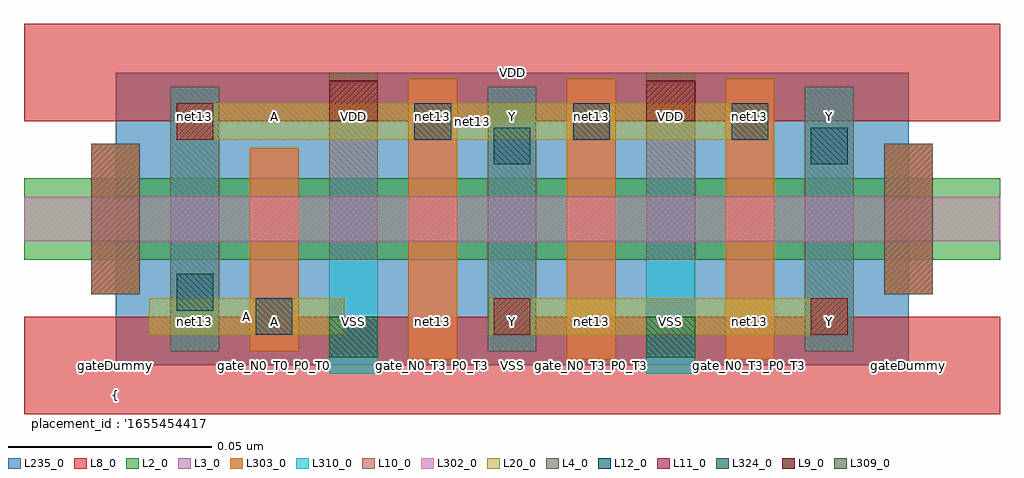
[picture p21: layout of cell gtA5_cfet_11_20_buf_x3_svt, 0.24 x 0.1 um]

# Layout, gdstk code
import gdstk
lib = gdstk.Library(unit=1e-6, precision=2.5e-10)
def R(c, l, rs):  # rectangles x0, y0, x1, y1
    for r in rs: c.add(gdstk.rectangle(r[:2], r[2:], *l))
def A(c, l, x, y, w, h, nx, ny, dx, dy):  # array of equal rectangles
    R(c, l, [(x+i*dx, y+j*dy, x+i*dx+w, y+j*dy+h) for i in range(nx) for j in range(ny)])
L2_0 = (2, 0)
L3_0 = (3, 0)
L4_0 = (4, 0)
L8_0 = (8, 0)
L9_0 = (9, 0)
L10_0 = (10, 0)
L11_0 = (11, 0)
L12_0 = (12, 0)
L20_0 = (20, 0)
L235_0 = (235, 0)
L302_0 = (302, 0)
L303_0 = (303, 0)
L309_0 = (309, 0)
L310_0 = (310, 0)
L324_0 = (324, 0)

gta5_cfet_11_20_buf_x3_s = lib.new_cell('gtA5_cfet_11_20_buf_x3_svt')
R(gta5_cfet_11_20_buf_x3_s, L2_0, [(-0.0225,0.026,0.2175,0.046)])
A(gta5_cfet_11_20_buf_x3_s, L3_0, 0.072, 0.0015, 0.012, 0.069, 3, 1, 0.039, 0)
R(gta5_cfet_11_20_buf_x3_s, L3_0, [(0.033,0.0035,0.045,0.0535), (-0.006,0.0175,0.006,0.0545), (0.189,0.0175,0.201,0.0545)])
R(gta5_cfet_11_20_buf_x3_s, L4_0, [(-0.006,0.0175,0.006,0.0545), (0.189,0.0175,0.201,0.0545)])
R(gta5_cfet_11_20_buf_x3_s, L8_0, [(-0.0225,-0.012,0.2175,0.012), (-0.0225,0.06,0.2175,0.084)])
R(gta5_cfet_11_20_buf_x3_s, L9_0, [(0.0525,0.06,0.0645,0.07), (0.1305,0.06,0.1425,0.07)])
A(gta5_cfet_11_20_buf_x3_s, L10_0, 0.0135, 0.0035, 0.012, 0.065, 3, 1, 0.078, 0)
R(gta5_cfet_11_20_buf_x3_s, L10_0, [(0.0525,0.026,0.0645,0.072), (0.1305,0.026,0.1425,0.072)])
R(gta5_cfet_11_20_buf_x3_s, L11_0, [(0.093,0.0075,0.102,0.0165), (0.171,0.0075,0.18,0.0165), (0.015,0.0555,0.024,0.0645)])
A(gta5_cfet_11_20_buf_x3_s, L12_0, 0.0735, 0.0555, 0.009, 0.009, 3, 1, 0.039, 0)
R(gta5_cfet_11_20_buf_x3_s, L12_0, [(0.0345,0.0075,0.0435,0.0165)])
R(gta5_cfet_11_20_buf_x3_s, L20_0, [(0.0083,0.0075,0.0563,0.0165), (0.092,0.0075,0.18,0.0165), (0.015,0.0555,0.1605,0.0645)])
R(gta5_cfet_11_20_buf_x3_s, L235_0, [(0,0,0.195,0.072)])
R(gta5_cfet_11_20_buf_x3_s, L302_0, [(-0.0225,0.0305,0.2175,0.0415)])
A(gta5_cfet_11_20_buf_x3_s, L303_0, 0.072, 0.0015, 0.012, 0.069, 3, 1, 0.039, 0)
R(gta5_cfet_11_20_buf_x3_s, L303_0, [(0.033,0.0035,0.045,0.0535), (-0.006,0.0175,0.006,0.0545), (0.189,0.0175,0.201,0.0545)])
R(gta5_cfet_11_20_buf_x3_s, L309_0, [(0.0525,0.002,0.0645,0.012), (0.1305,0.002,0.1425,0.012)])
A(gta5_cfet_11_20_buf_x3_s, L310_0, 0.0135, 0.0035, 0.012, 0.065, 3, 1, 0.078, 0)
R(gta5_cfet_11_20_buf_x3_s, L310_0, [(0.0525,-0.002,0.0645,0.046), (0.1305,-0.002,0.1425,0.046)])
R(gta5_cfet_11_20_buf_x3_s, L324_0, [(0.015,0.0135,0.024,0.0225), (0.093,0.0495,0.102,0.0585), (0.171,0.0495,0.18,0.0585)])
gta5_cfet_11_20_buf_x3_s.add(gdstk.Label('net13', (0.0878,0.06), layer=100, texttype=100))
gta5_cfet_11_20_buf_x3_s.add(gdstk.Label('gateDummy', (0,0), layer=103, texttype=103))
gta5_cfet_11_20_buf_x3_s.add(gdstk.Label('sd_N0_T3_P0_T3', (0.0195,0), layer=103, texttype=103))
gta5_cfet_11_20_buf_x3_s.add(gdstk.Label('gate_N0_T0_P0_T0', (0.039,0), layer=103, texttype=103))
gta5_cfet_11_20_buf_x3_s.add(gdstk.Label('sd_N0_VSS_P0_VDD', (0.0585,0), layer=103, texttype=103))
gta5_cfet_11_20_buf_x3_s.add(gdstk.Label('gate_N0_T3_P0_T3', (0.078,0), layer=103, texttype=103))
gta5_cfet_11_20_buf_x3_s.add(gdstk.Label('sd_N0_T0_P0_T0', (0.0975,0), layer=103, texttype=103))
gta5_cfet_11_20_buf_x3_s.add(gdstk.Label('gate_N0_T3_P0_T3', (0.117,0), layer=103, texttype=103))
gta5_cfet_11_20_buf_x3_s.add(gdstk.Label('sd_N0_VSS_P0_VDD', (0.1365,0), layer=103, texttype=103))
gta5_cfet_11_20_buf_x3_s.add(gdstk.Label('gate_N0_T3_P0_T3', (0.156,0), layer=103, texttype=103))
gta5_cfet_11_20_buf_x3_s.add(gdstk.Label('sd_N0_T0_P0_T0', (0.1755,0), layer=103, texttype=103))
gta5_cfet_11_20_buf_x3_s.add(gdstk.Label('gateDummy', (0.195,0), layer=103, texttype=103))
gta5_cfet_11_20_buf_x3_s.add(gdstk.Label('}', (0,-0.0785), layer=104, texttype=104))
gta5_cfet_11_20_buf_x3_s.add(gdstk.Label('  power : None', (0,-0.0713), layer=104, texttype=104))
gta5_cfet_11_20_buf_x3_s.add(gdstk.Label('  performance : None', (0,-0.0643), layer=104, texttype=104))
gta5_cfet_11_20_buf_x3_s.add(gdstk.Label("  solution_hash : '11637902561915937365'", (0,-0.057), layer=104, texttype=104))
gta5_cfet_11_20_buf_x3_s.add(gdstk.Label('  number_m2 : 0', (0,-0.05), layer=104, texttype=104))
gta5_cfet_11_20_buf_x3_s.add(gdstk.Label('  number_m1 : 0', (0,-0.0428), layer=104, texttype=104))
gta5_cfet_11_20_buf_x3_s.add(gdstk.Label('  number_m0cuts : 0', (0,-0.0358), layer=104, texttype=104))
gta5_cfet_11_20_buf_x3_s.add(gdstk.Label('  number_m0 : 3', (0,-0.0285), layer=104, texttype=104))
gta5_cfet_11_20_buf_x3_s.add(gdstk.Label("  solution_number : '0000'", (0,-0.0215), layer=104, texttype=104))
gta5_cfet_11_20_buf_x3_s.add(gdstk.Label("  placement_id : '16554544176148199252'", (0,-0.0143), layer=104, texttype=104))
gta5_cfet_11_20_buf_x3_s.add(gdstk.Label('{', (0,-0.0073), layer=104, texttype=104))
gta5_cfet_11_20_buf_x3_s.add(gdstk.Label('net13', (0.0195,0.0108), layer=105, texttype=105))
gta5_cfet_11_20_buf_x3_s.add(gdstk.Label('A', (0.039,0.0108), layer=105, texttype=105))
gta5_cfet_11_20_buf_x3_s.add(gdstk.Label('VSS', (0.0585,0.0108), layer=105, texttype=105))
gta5_cfet_11_20_buf_x3_s.add(gdstk.Label('net13', (0.078,0.0108), layer=105, texttype=105))
gta5_cfet_11_20_buf_x3_s.add(gdstk.Label('Y', (0.0975,0.0108), layer=105, texttype=105))
gta5_cfet_11_20_buf_x3_s.add(gdstk.Label('net13', (0.117,0.0108), layer=105, texttype=105))
gta5_cfet_11_20_buf_x3_s.add(gdstk.Label('VSS', (0.1365,0.0108), layer=105, texttype=105))
gta5_cfet_11_20_buf_x3_s.add(gdstk.Label('net13', (0.156,0.0108), layer=105, texttype=105))
gta5_cfet_11_20_buf_x3_s.add(gdstk.Label('Y', (0.1755,0.0108), layer=105, texttype=105))
gta5_cfet_11_20_buf_x3_s.add(gdstk.Label('net13', (0.0195,0.0612), layer=105, texttype=105))
gta5_cfet_11_20_buf_x3_s.add(gdstk.Label('A', (0.039,0.0612), layer=105, texttype=105))
gta5_cfet_11_20_buf_x3_s.add(gdstk.Label('VDD', (0.0585,0.0612), layer=105, texttype=105))
gta5_cfet_11_20_buf_x3_s.add(gdstk.Label('net13', (0.078,0.0612), layer=105, texttype=105))
gta5_cfet_11_20_buf_x3_s.add(gdstk.Label('Y', (0.0975,0.0612), layer=105, texttype=105))
gta5_cfet_11_20_buf_x3_s.add(gdstk.Label('net13', (0.117,0.0612), layer=105, texttype=105))
gta5_cfet_11_20_buf_x3_s.add(gdstk.Label('VDD', (0.1365,0.0612), layer=105, texttype=105))
gta5_cfet_11_20_buf_x3_s.add(gdstk.Label('net13', (0.156,0.0612), layer=105, texttype=105))
gta5_cfet_11_20_buf_x3_s.add(gdstk.Label('Y', (0.1755,0.0612), layer=105, texttype=105))
gta5_cfet_11_20_buf_x3_s.add(gdstk.Label('VSS', (0.0975,0), layer=8, texttype=0))
gta5_cfet_11_20_buf_x3_s.add(gdstk.Label('VDD', (0.0975,0.072), layer=8, texttype=0))
gta5_cfet_11_20_buf_x3_s.add(gdstk.Label('A', (0.0323,0.012), layer=20, texttype=251))
gta5_cfet_11_20_buf_x3_s.add(gdstk.Label('Y', (0.136,0.012), layer=20, texttype=251))
gta5_cfet_11_20_buf_x3_s.add(gdstk.Label('gtA5_cfet_11_20_buf_x3_rvt_0', (0,0), layer=235, texttype=0))

lib.write_gds('gtA5_cfet_11_20_buf_x3_svt.gds')
